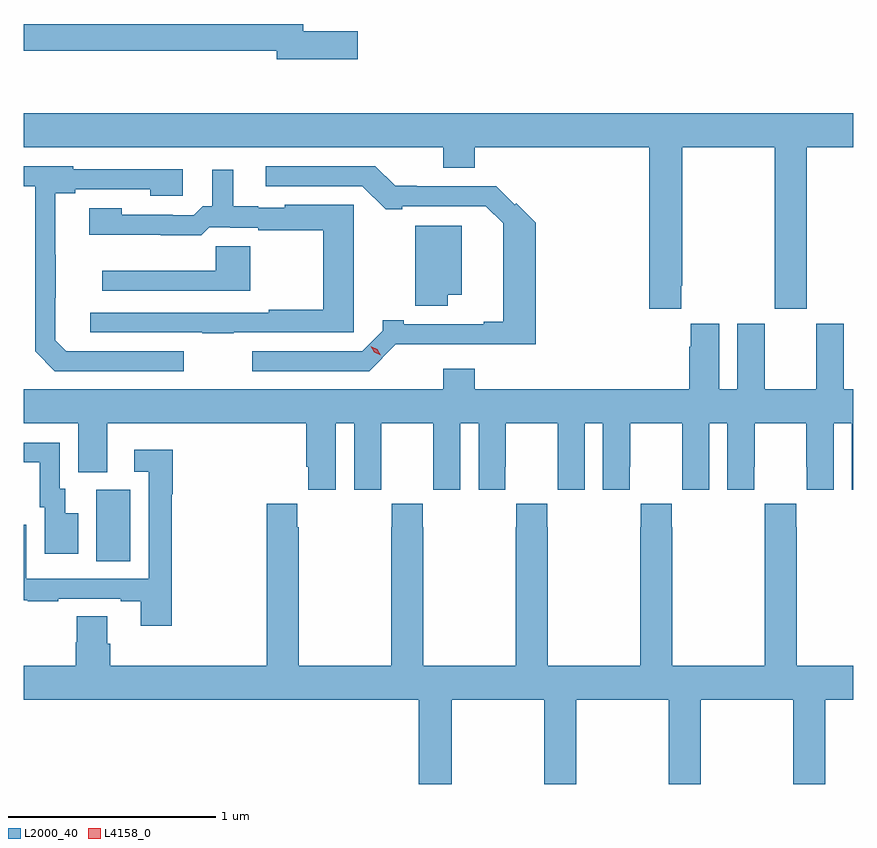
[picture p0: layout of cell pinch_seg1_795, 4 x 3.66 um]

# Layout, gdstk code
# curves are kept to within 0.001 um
import gdstk
lib = gdstk.Library(unit=1e-6, precision=1e-09)
def R(c, l, rs):  # rectangles x0, y0, x1, y1
    for r in rs: c.add(gdstk.rectangle(r[:2], r[2:], *l))
def P(c, l, *ps):  # polygons
    for p in ps: c.add(gdstk.Polygon(p, *l))
L2000_40 = (2000, 40)
L4158_0 = (4158, 0)

pinch_seg1_795 = lib.new_cell('pinch_seg1_795')
R(pinch_seg1_795, L2000_40, [(434.204,544.408,434.368,544.752)])
P(pinch_seg1_795, L2000_40, [(435.463,546.962),(435.202,546.962),(435.202,546.998),(433.853,546.998),(433.853,546.87),(435.074,546.87),(435.074,546.827),(435.463,546.827)],
  [(437.023,545.737),(437.028,545.737),(437.028,546.404),(437.473,546.404),(437.473,545.625),(437.628,545.625),(437.628,546.404),(437.853,546.404),(437.853,546.568),(433.853,546.568),(433.853,546.404),(435.875,546.404),(435.875,546.305),(436.028,546.305),(436.028,546.404),(436.868,546.404),(436.868,545.625),(437.023,545.625)],
  [(435.647,545.453),(436.322,545.454),(436.322,546.039),(436.228,546.133),(436.221,546.126),(436.131,546.216),(435.748,546.216),(435.748,546.218),(435.644,546.218),(435.549,546.312),(435.021,546.312),(435.021,546.216),(435.486,546.216),(435.598,546.104),(435.679,546.104),(435.679,546.12),(436.08,546.12),(436.164,546.037),(436.164,545.93),(436.166,545.93),(436.166,545.563),(436.07,545.563),(436.07,545.55),(435.685,545.55),(435.685,545.57),(435.585,545.57),(435.585,545.52),(435.486,545.421),(434.955,545.421),(434.955,545.325),(435.519,545.325)],
  [(434.626,545.421),(434.058,545.421),(434.005,545.474),(434.005,545.678),(434.007,545.678),(434.007,545.885),(434.005,545.885),(434.005,546.181),(434.101,546.181),(434.101,546.201),(434.464,546.201),(434.464,546.17),(434.62,546.17),(434.62,546.297),(434.091,546.297),(434.091,546.312),(433.853,546.312),(433.853,546.216),(433.908,546.216),(433.908,545.421),(434.004,545.325),(434.626,545.325)],
  [(434.867,545.511),(435.445,545.511),(435.445,546.127),(435.111,546.127),(435.111,546.111),(434.985,546.111),(434.985,546.119),(434.863,546.119),(434.863,546.295),(434.762,546.295),(434.762,546.119),(434.717,546.119),(434.673,546.075),(434.573,546.075),(434.573,546.078),(434.325,546.078),(434.325,546.109),(434.169,546.109),(434.169,545.981),(434.515,545.981),(434.515,545.979),(434.709,545.979),(434.748,546.018),(434.848,546.018),(434.848,546.015),(434.985,546.015),(434.985,546.003),(435.298,546.003),(435.298,545.62),(435.034,545.62),(435.034,545.607),(434.175,545.607),(434.175,545.511),(434.713,545.511),(434.713,545.506),(434.867,545.506)],
  [(435.898,545.693),(435.964,545.693),(435.964,546.025),(435.74,546.025),(435.74,545.64),(435.898,545.64)],
  [(434.946,545.926),(434.78,545.926),(434.78,545.809),(434.232,545.809),(434.232,545.712),(434.946,545.712)],
  [(433.853,545.072),(434.117,545.072),(434.117,544.837),(434.257,544.837),(434.257,545.072),(435.215,545.072),(435.215,544.864),(435.224,544.864),(435.224,544.752),(435.358,544.752),(435.358,545.072),(435.446,545.072),(435.446,544.752),(435.576,544.752),(435.576,544.864),(435.577,544.864),(435.577,545.072),(435.827,545.072),(435.827,544.864),(435.828,544.864),(435.828,544.752),(435.958,544.752),(435.958,545.072),(436.046,545.072),(436.046,544.752),(436.176,544.752),(436.176,544.864),(436.177,544.864),(436.177,545.072),(436.427,545.072),(436.427,544.864),(436.428,544.864),(436.428,544.752),(436.558,544.752),(436.558,545.072),(436.646,545.072),(436.646,544.752),(436.776,544.752),(436.776,544.864),(436.777,544.864),(436.777,545.072),(437.027,545.072),(437.027,544.864),(437.028,544.864),(437.028,544.752),(437.158,544.752),(437.158,545.072),(437.246,545.072),(437.246,544.752),(437.376,544.752),(437.376,544.864),(437.377,544.864),(437.377,545.072),(437.627,545.072),(437.627,544.864),(437.628,544.864),(437.628,544.752),(437.758,544.752),(437.758,545.072),(437.846,545.072),(437.846,544.752),(437.853,544.752),(437.853,545.236),(437.806,545.236),(437.806,545.554),(437.675,545.554),(437.675,545.236),(437.425,545.236),(437.425,545.554),(437.294,545.554),(437.294,545.236),(437.206,545.236),(437.206,545.554),(437.069,545.554),(437.069,545.441),(437.063,545.441),(437.063,545.236),(436.028,545.236),(436.028,545.335),(435.875,545.335),(435.875,545.236),(433.853,545.236)],
  [(434.116,544.639),(434.053,544.639),(434.053,544.758),(434.028,544.758),(434.028,544.98),(433.853,544.98),(433.853,544.884),(433.931,544.884),(433.931,544.668),(433.955,544.668),(433.955,544.443),(434.116,544.443)],
  [(434.566,544.732),(434.573,544.732),(434.573,544.945),(434.385,544.945),(434.385,544.839),(434.457,544.839),(434.457,544.323),(433.866,544.323),(433.866,544.585),(433.853,544.585),(433.853,544.221),(433.873,544.221),(433.873,544.215),(434.021,544.215),(434.021,544.227),(434.321,544.227),(434.321,544.215),(434.417,544.215),(434.417,544.098),(434.566,544.098)],
  [(435.777,544.571),(435.777,544.684),(435.627,544.684),(435.627,544.571),(435.625,544.571),(435.625,543.904),(435.18,543.904),(435.18,544.571),(435.173,544.571),(435.173,544.684),(435.025,544.684),(435.025,543.904),(434.27,543.904),(434.27,544.01),(434.257,544.01),(434.257,544.142),(434.11,544.142),(434.11,544.017),(434.105,544.017),(434.105,543.904),(433.853,543.904),(433.853,543.74),(435.758,543.74),(435.758,543.334),(435.918,543.334),(435.918,543.74),(436.363,543.74),(436.363,543.334),(436.518,543.334),(436.518,543.74),(436.963,543.74),(436.963,543.334),(437.118,543.334),(437.118,543.74),(437.563,543.74),(437.563,543.334),(437.718,543.334),(437.718,543.74),(437.853,543.74),(437.853,543.904),(437.58,543.904),(437.58,544.571),(437.577,544.571),(437.577,544.684),(437.427,544.684),(437.427,544.571),(437.425,544.571),(437.425,543.904),(436.98,543.904),(436.98,544.571),(436.977,544.571),(436.977,544.684),(436.827,544.684),(436.827,544.571),(436.825,544.571),(436.825,543.904),(436.38,543.904),(436.38,544.571),(436.377,544.571),(436.377,544.684),(436.227,544.684),(436.227,544.571),(436.225,544.571),(436.225,543.904),(435.78,543.904),(435.78,544.571)])
P(pinch_seg1_795, L4158_0, [(435.574,545.4),(435.543,545.415),(435.526,545.445),(435.526,545.445),(435.526,545.445),(435.557,545.43),(435.574,545.4),(435.574,545.4)])

lib.write_gds('pinch_seg1_795.gds')
